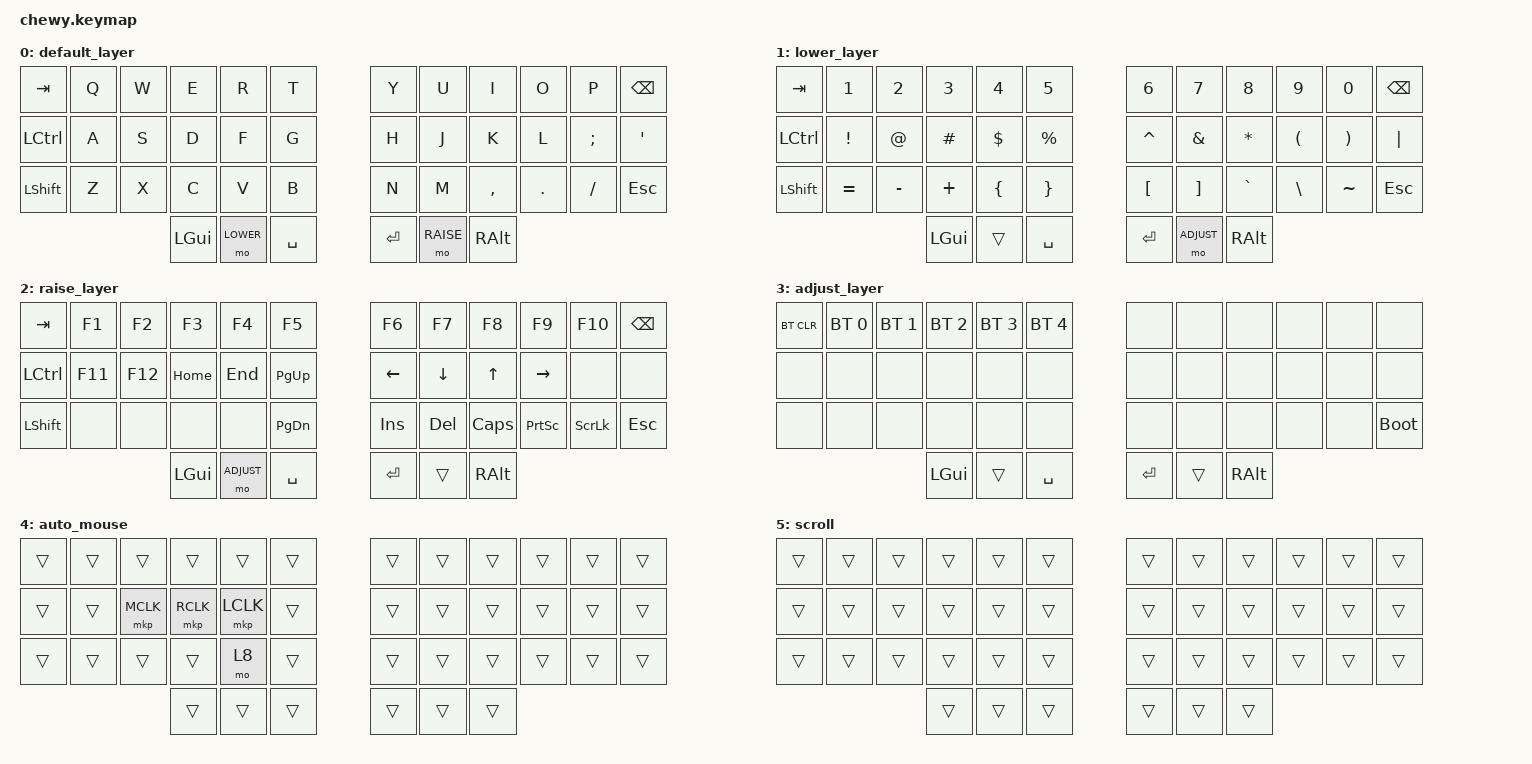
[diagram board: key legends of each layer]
#define ZMK_POINTING_DEFAULT_MOVE_VAL 1500  // default: 600
#define ZMK_POINTING_DEFAULT_SCRL_VAL 10    // default: 10

#include <behaviors.dtsi>
#include <dt-bindings/zmk/bt.h>
#include <dt-bindings/zmk/keys.h>
#include <dt-bindings/zmk/pointing.h>

#define DEFAULT 0
#define LOWER   1
#define RAISE   2
#define ADJUST  3

&soft_off { hold-time-ms = <3000>; };

&mt {
    flavor = "balanced";
    require-prior-idle-ms = <200>;
    tapping-term-ms = <200>;
    quick-tap-ms = <175>;
};

/ {
    behaviors {
        as: auto_shift {
            compatible = "zmk,behavior-hold-tap";
            label = "Auto Shift";
            bindings = <&kp>, <&kp>;

            #binding-cells = <2>;
            quick-tap-ms = <0>;
            tapping-term-ms = <200>;
            flavor = "hold-preferred";
            require-prior-idle-ms = <125>;
        };

        ca: ctrl_alt {
            compatible = "zmk,behavior-tap-dance";
            #binding-cells = <0>;
            tapping-term-ms = <300>;
            bindings = <&kp LCTRL>, <&kp LALT>;
        };

        cb: ctrl_backspase {
            compatible = "zmk,behavior-mod-morph";
            label = "CTRL_BACKSPASE";
            bindings = <&kp BACKSPACE>, <&mo 7>;

            #binding-cells = <0>;
            mods = <(MOD_LCTL|MOD_LALT)>;
        };
    };

    combos {
        compatible = "zmk,combos";
    };

    keymap {
        compatible = "zmk,keymap";

        default_layer {
            bindings = <
&kp TAB    &kp Q  &kp W  &kp E     &kp R      &kp T        &kp Y    &kp U      &kp I      &kp O    &kp P     &kp BSPC
&kp LCTRL  &kp A  &kp S  &kp D     &kp F      &kp G        &kp H    &kp J      &kp K      &kp L    &kp SEMI  &kp SQT
&kp LSHFT  &kp Z  &kp X  &kp C     &kp V      &kp B        &kp N    &kp M      &kp COMMA  &kp DOT  &kp FSLH  &kp ESC
                         &kp LGUI  &mo LOWER  &kp SPACE    &kp RET  &mo RAISE  &kp RALT
            >;
        };

        lower_layer {
            bindings = <
&kp TAB    &kp N1     &kp N2     &kp N3    &kp N4    &kp N5       &kp N6     &kp N7      &kp N8     &kp N9    &kp N0     &kp BSPC
&kp LCTRL  &kp EXCL   &kp AT     &kp HASH  &kp DLLR  &kp PRCNT    &kp CARET  &kp AMPS    &kp STAR   &kp LPAR  &kp RPAR   &kp PIPE
&kp LSHFT  &kp EQUAL  &kp MINUS  &kp PLUS  &kp LBRC  &kp RBRC     &kp LBKT   &kp RBKT    &kp GRAVE  &kp BSLH  &kp TILDE  &kp ESC
                                 &kp LGUI  &trans    &kp SPACE    &kp RET    &mo ADJUST  &kp RALT
            >;
        };

        raise_layer {
            bindings = <
&kp TAB    &kp F1   &kp F2   &kp F3    &kp F4      &kp F5       &kp F6    &kp F7    &kp F8    &kp F9     &kp F10   &kp BSPC
&kp LCTRL  &kp F11  &kp F12  &kp HOME  &kp END     &kp PG_UP    &kp LEFT  &kp DOWN  &kp UP    &kp RIGHT  &none     &none
&kp LSHFT  &none    &none    &none     &none       &kp PG_DN    &kp INS   &kp DEL   &kp CAPS  &kp PSCRN  &kp SLCK  &kp ESC
                             &kp LGUI  &mo ADJUST  &kp SPACE    &kp RET   &trans    &kp RALT
            >;
        };

        adjust_layer {
            bindings = <
&bt BT_CLR  &bt BT_SEL 0  &bt BT_SEL 1  &bt BT_SEL 2  &bt BT_SEL 3  &bt BT_SEL 4    &none    &none   &none     &none  &none  &none
&none       &none         &none         &none         &none         &none           &none    &none   &none     &none  &none  &none
&none       &none         &none         &none         &none         &none           &none    &none   &none     &none  &none  &bootloader
                                        &kp LGUI      &trans        &kp SPACE       &kp RET  &trans  &kp RALT
            >;
        };

        auto_mouse {
            bindings = <
&trans  &trans  &trans     &trans     &trans     &trans    &trans  &trans  &trans  &trans  &trans  &trans
&trans  &trans  &mkp MCLK  &mkp RCLK  &mkp LCLK  &trans    &trans  &trans  &trans  &trans  &trans  &trans
&trans  &trans  &trans     &trans     &mo 8      &trans    &trans  &trans  &trans  &trans  &trans  &trans
                           &trans     &trans     &trans    &trans  &trans  &trans
            >;
        };

        scroll {
            bindings = <
&trans  &trans  &trans  &trans  &trans  &trans    &trans  &trans  &trans  &trans  &trans  &trans
&trans  &trans  &trans  &trans  &trans  &trans    &trans  &trans  &trans  &trans  &trans  &trans
&trans  &trans  &trans  &trans  &trans  &trans    &trans  &trans  &trans  &trans  &trans  &trans
                        &trans  &trans  &trans    &trans  &trans  &trans
            >;
        };
    };
};
